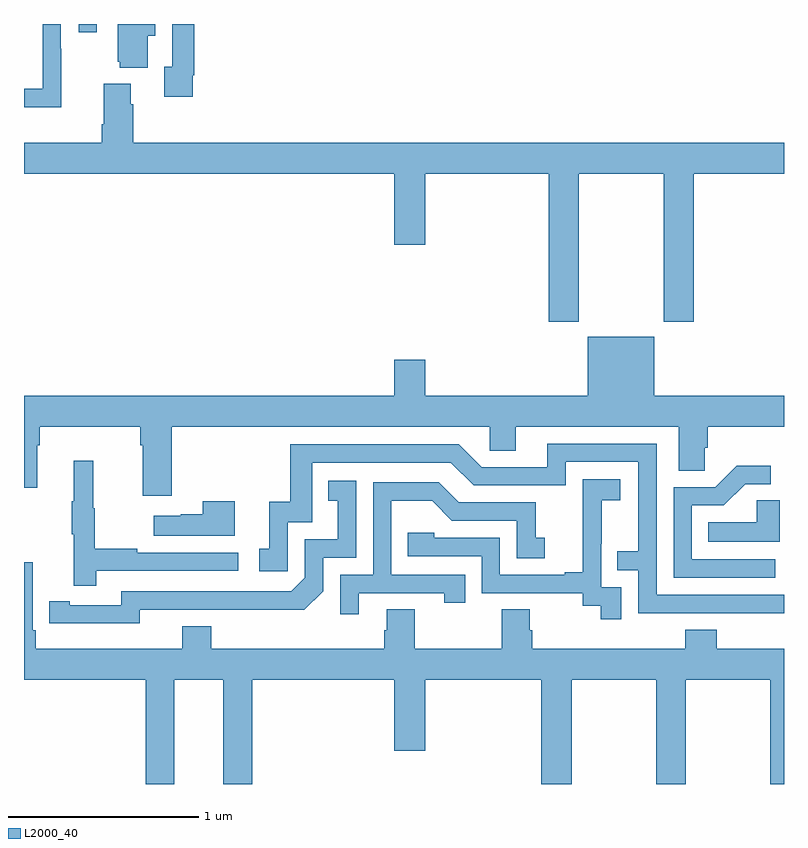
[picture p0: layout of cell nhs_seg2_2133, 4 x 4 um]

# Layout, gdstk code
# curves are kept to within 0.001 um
import gdstk
lib = gdstk.Library(unit=1e-6, precision=1e-09)
def R(c, l, rs):  # rectangles x0, y0, x1, y1
    for r in rs: c.add(gdstk.rectangle(r[:2], r[2:], *l))
def P(c, l, *ps):  # polygons
    for p in ps: c.add(gdstk.Polygon(p, *l))
L2000_40 = (2000, 40)

nhs_seg2_2133 = lib.new_cell('nhs_seg2_2133')
R(nhs_seg2_2133, L2000_40, [(223.287,605.757,223.383,605.8)])
P(nhs_seg2_2133, L2000_40, [(223.651,605.738),(223.69,605.738),(223.69,605.8),(223.493,605.8),(223.493,605.601),(223.505,605.601),(223.505,605.57),(223.651,605.57)],
  [(223.197,605.669),(223.194,605.669),(223.194,605.8),(223.098,605.8),(223.098,605.46),(223,605.46),(223,605.363),(223.197,605.363)],
  [(223.888,605.53),(223.895,605.53),(223.895,605.8),(223.779,605.8),(223.779,605.574),(223.739,605.574),(223.739,605.418),(223.888,605.418)],
  [(225.921,605.012),(226.366,605.012),(226.366,604.233),(226.526,604.233),(226.526,605.012),(227,605.012),(227,605.176),(223.574,605.176),(223.574,605.378),(223.561,605.378),(223.561,605.485),(223.421,605.485),(223.421,605.272),(223.409,605.272),(223.409,605.176),(223,605.176),(223,605.012),(224.948,605.012),(224.948,604.638),(225.112,604.638),(225.112,605.012),(225.761,605.012),(225.761,604.233),(225.921,604.233)],
  [(223,603.36),(223.069,603.36),(223.069,603.584),(223.082,603.584),(223.082,603.68),(223.613,603.68),(223.613,603.584),(223.625,603.584),(223.625,603.318),(223.778,603.318),(223.778,603.68),(225.45,603.68),(225.45,603.553),(225.589,603.553),(225.589,603.68),(226.445,603.68),(226.445,603.448),(226.584,603.448),(226.584,603.571),(226.598,603.571),(226.598,603.68),(227,603.68),(227,603.844),(226.318,603.844),(226.318,604.153),(225.968,604.153),(225.968,603.844),(225.112,603.844),(225.112,604.033),(224.948,604.033),(224.948,603.844),(223,603.844)],
  [(227,602.796),(226.329,602.796),(226.329,603.591),(225.755,603.591),(225.755,603.468),(225.408,603.468),(225.288,603.588),(224.401,603.588),(224.401,603.286),(224.291,603.286),(224.291,603.039),(224.238,603.039),(224.238,602.919),(224.388,602.919),(224.388,603.177),(224.517,603.177),(224.517,603.492),(225.246,603.492),(225.366,603.372),(225.852,603.372),(225.852,603.495),(226.233,603.495),(226.233,603.026),(226.123,603.026),(226.123,602.925),(226.233,602.925),(226.233,602.7),(227,602.699)],
  [(223.379,602.922),(224.128,602.922),(224.128,603.018),(223.595,603.018),(223.595,603.038),(223.372,603.038),(223.372,603.252),(223.364,603.252),(223.364,603.502),(223.262,603.502),(223.262,603.289),(223.251,603.289),(223.251,603.115),(223.262,603.115),(223.262,602.844),(223.379,602.844)],
  [(226.954,602.982),(226.515,602.982),(226.515,603.267),(226.684,603.267),(226.795,603.378),(226.93,603.378),(226.93,603.476),(226.751,603.476),(226.638,603.363),(226.419,603.363),(226.419,602.886),(226.954,602.886)],
  [(226.143,602.835),(226.038,602.835),(226.038,603.065),(226.04,603.065),(226.04,603.293),(226.138,603.293),(226.138,603.403),(225.94,603.403),(225.94,603.197),(225.941,603.197),(225.941,602.914),(225.845,602.914),(225.845,602.901),(225.504,602.901),(225.504,603.096),(225.159,603.096),(225.159,603.123),(225.019,603.123),(225.019,603),(225.408,603),(225.408,602.805),(225.942,602.805),(225.942,602.737),(226.035,602.737),(226.035,602.667),(226.143,602.667)],
  [(223.608,602.718),(224.476,602.717),(224.574,602.814),(224.574,602.991),(224.748,602.991),(224.748,603.397),(224.602,603.397),(224.602,603.291),(224.651,603.291),(224.651,603.087),(224.478,603.087),(224.478,602.886),(224.406,602.814),(223.512,602.814),(223.512,602.742),(223.24,602.742),(223.24,602.762),(223.132,602.762),(223.132,602.646),(223.608,602.645)],
  [(224.761,602.805),(225.212,602.805),(225.212,602.754),(225.323,602.754),(225.323,602.901),(224.934,602.901),(224.934,603.29),(225.148,603.29),(225.252,603.186),(225.594,603.186),(225.594,602.988),(225.742,602.988),(225.742,603.097),(225.693,603.097),(225.693,603.282),(225.289,603.282),(225.184,603.387),(224.838,603.387),(224.838,602.901),(224.664,602.901),(224.664,602.694),(224.761,602.694)],
  [(226.978,603.293),(226.857,603.293),(226.857,603.178),(226.6,603.178),(226.6,603.074),(226.978,603.074)],
  [(224.11,603.289),(223.94,603.289),(223.94,603.221),(223.826,603.221),(223.826,603.211),(223.683,603.211),(223.683,603.107),(224.11,603.107)],
  [(224.909,602.61),(224.897,602.61),(224.897,602.512),(223.985,602.512),(223.985,602.629),(223.832,602.629),(223.832,602.512),(223.061,602.512),(223.061,602.608),(223.047,602.608),(223.047,602.968),(223,602.968),(223,602.348),(223.64,602.348),(223.64,601.8),(223.792,601.8),(223.792,602.348),(224.048,602.348),(224.048,601.8),(224.201,601.8),(224.201,602.348),(224.948,602.348),(224.948,601.974),(225.112,601.974),(225.112,602.348),(225.722,602.348),(225.722,601.8),(225.882,601.8),(225.882,602.348),(226.327,602.348),(226.327,601.8),(226.482,601.8),(226.482,602.348),(226.927,602.348),(226.927,601.8),(227,601.8),(227,602.512),(226.646,602.512),(226.646,602.611),(226.481,602.611),(226.481,602.512),(225.674,602.512),(225.674,602.61),(225.661,602.61),(225.661,602.72),(225.514,602.72),(225.514,602.512),(225.057,602.512),(225.057,602.72),(224.909,602.72)])

lib.write_gds('nhs_seg2_2133.gds')
